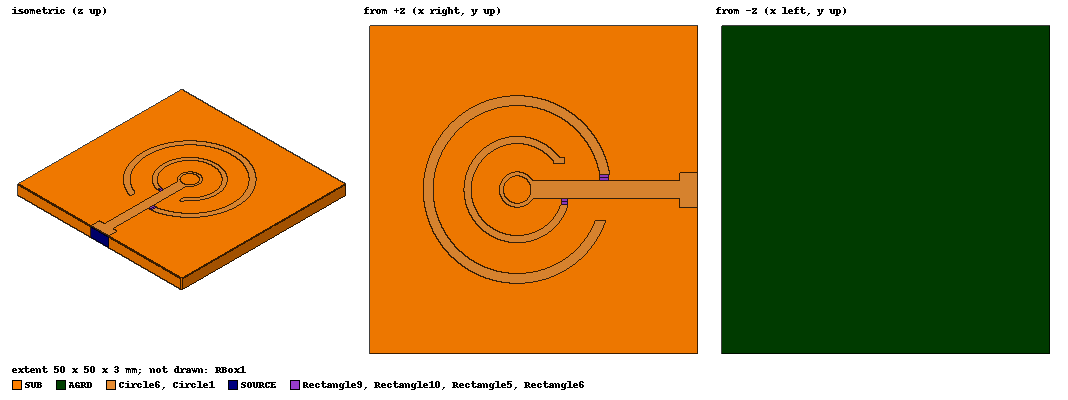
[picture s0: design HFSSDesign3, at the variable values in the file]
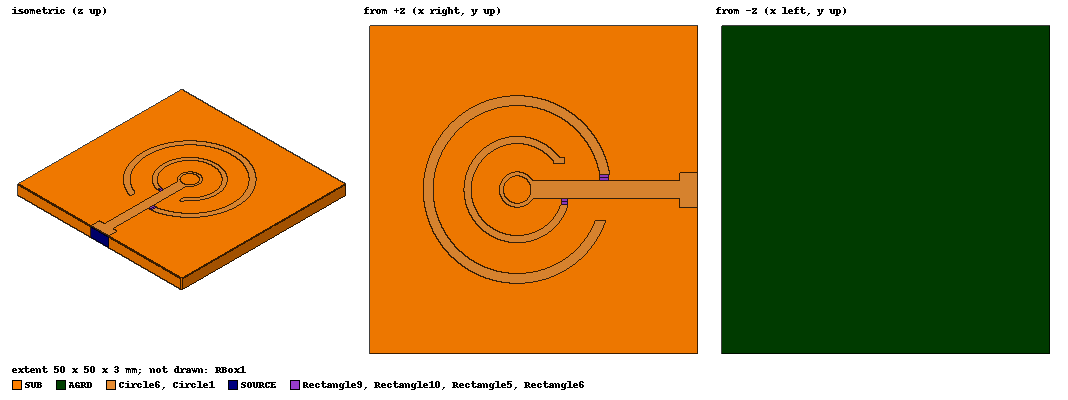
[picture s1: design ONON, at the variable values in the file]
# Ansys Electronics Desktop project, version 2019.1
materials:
  Rogers RT/duroid 5880 (tm): permittivity=2.2 dielectric_loss_tangent=0.0009
  vacuum: permittivity=1

design HFSSDesign3 (HFSS, DrivenModal, model units mm)
options: Calculate_Lossy_Dielectrics
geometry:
  AGRD = rectangle(corner=(-25mm, -25mm, 0mm), x_size=50mm, y_size=50mm)
  SUB [Rogers RT/duroid 5880 (tm)] = box(corner=(-25mm, -25mm, 0mm), size=(50mm, 50mm, 3mm))
  SOURCE = rectangle(corner=(25mm, -2.8mm, 0mm), y_size=5.4mm, z_size=3mm)
  RBox1 [vacuum] = box(corner=(-35mm, -35mm, -20mm), size=(70mm, 70mm, 40mm))
  Rectangle1 = rectangle(corner=(25mm, -2.8mm, 3mm), x_size=-2.7mm, y_size=5.4mm)
  Rectangle2 = rectangle(corner=(22.3mm, -1.3mm, 3mm), x_size=-22.5mm, y_size=2.6mm)
  Circle1 = circle(normal=Z, centre=(-2.5mm, 0mm, 3mm), radius=2.7mm)
  Circle2 = circle(normal=Z, centre=(-2.5mm, 0mm, 3mm), radius=2.1mm)
  Circle1.subtract(Circle2)
  Circle1.unite(Rectangle1, Rectangle2)
  Circle3 = circle(normal=Z, centre=(-2.5mm, 0mm, 3mm), radius=8.1mm)
  Circle4 = circle(normal=Z, centre=(-2.5mm, 0mm, 3mm), radius=7mm)
  Circle3.subtract(Circle4)
  Rectangle3 = rectangle(corner=(3.2mm, 4mm, 3mm), x_size=3mm, y_size=-6.3mm)
  Circle3.subtract(Rectangle3)
  Rectangle4 = rectangle(corner=(3.3mm, -1.3mm, 3mm), x_size=1mm, y_size=1.7mm)
  Rectangle5 = rectangle(corner=(4.2mm, -1.8mm, 3mm), x_size=1mm, y_size=0.5mm)
  Rectangle6 = rectangle(corner=(4.2mm, -1.8mm, 3mm), x_size=1mm, y_size=-0.5mm)
  Circle1.unite(Rectangle4)
  Circle1.unite(Circle3)
  Rectangle7 = rectangle(corner=(3mm, 4.9mm, 3mm), x_size=1.7mm, y_size=-1mm)
  Circle1.unite(Rectangle7)
  Circle5 = circle(normal=Z, centre=(-2.5mm, 0mm, 3mm), radius=12.8mm)
  Circle6 = circle(normal=Z, centre=(-2.5mm, 0mm, 3mm), radius=14.3mm)
  Circle6.subtract(Circle5)
  Rectangle8 = rectangle(corner=(9.5mm, -4.7mm, 3mm), x_size=3mm, y_size=7mm)
  Circle6.subtract(Rectangle8)
  Rectangle9 = rectangle(corner=(10mm, 2.3mm, 3mm), x_size=1.4965144mm, y_size=-0.5mm)
  Rectangle10 = rectangle(corner=(10mm, 1.8mm, 3mm), x_size=1.4965144mm, y_size=-0.5mm)
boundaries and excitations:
  PerfE1: Perfect E Objects=AGRD
  Rad1: Radiation Objects=RBox1
  PerfE2: Perfect E Objects=Circle1
  RC1: Lumped RLC Objects=Rectangle6 CurrentLine{middle of Rectangle6.edge(y at corner) -> middle of Rectangle6.edge(y opposite corner)} Resistance=3.5ohm
  L1: Lumped RLC Objects=Rectangle5 CurrentLine{middle of Rectangle5.edge(y opposite corner) -> middle of Rectangle5.edge(y at corner)} Inductance=0.15nH
  RC2: Lumped RLC Objects=Rectangle9 CurrentLine{Rectangle9.edge(y opposite corner) at 0.535 along -> Rectangle9.edge(y at corner) at 0.465 along} Resistance=3.5ohm
  L2: Lumped RLC Objects=Rectangle10 CurrentLine{Rectangle10.edge(y opposite corner) at 0.535 along -> Rectangle10.edge(y at corner) at 0.465 along} Inductance=0.15nH
  PerfE3: Perfect E Objects=Circle6
  1: Lumped Port Objects=SOURCE Modes{Mode1{IntLine{middle of SOURCE.edge(z at corner) -> middle of SOURCE.edge(z opposite corner)} CharImp=Zpi RenormImp=50ohm}} Impedance=50ohm
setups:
  Setup1: HfssDriven AdaptMultipleFreqs MultipleAdaptiveFreqsSetup{5GHz(0.02) 12GHz(0.02) 21GHz(0.02)} MaximumPasses=10 MinimumPasses=1 MinimumConvergedPasses=1 PercentRefinement=30 BasisOrder=1 PortAccuracy=2
    sweep Sweep: 1GHz to 25GHz, 451 points; Type=Fast SaveFields
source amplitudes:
  1:1: 1W 0deg
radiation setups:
  Infinite Sphere1: Infinite Sphere Theta=0deg..360deg step 5deg Phi=-180deg..180deg step 5deg
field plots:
  Mag_Jsurf1: Jsurf over Circle1.face(all 2) on Setup1 : LastAdaptive at Freq=5GHz Phase=0deg
  Mag_E1: E Field over Circle6.face(at (-2.5, 0, 3)) on Setup1 : LastAdaptive at Freq=5GHz Phase=0deg
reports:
  S Parameter Plot 1: OFFOFF, dB(S(1,1)), dB(S(1,1)) vs Freq; markers m1 at 4.8933333GHz, m2 at 17.533333GHz, m3 at 21.053333GHz, MX1 at x=5.8810173e+09, MX2 at x=4.1099001e+09, MX3 at x=1.6757493e+10, MX4 at x=1.8357385e+10, MX5 at x=2.0394737e+10, MX6 at x=2.1710526e+10
  VSWR Plot 1: VSWR(1), VSWR(1) OFFOFF, VSWR(1) OFFON vs Freq; markers MY1 at y=1.03194
  Antenna Params Plot 1: RadiationEfficiency, RadiationEfficiency_OFFON, RadiationEfficiency_17GHz vs Freq; markers MX1 at x=2.0999576e+10, MX2 at x=1.75382e+10, MX3 at x=5e+09
  Gain Plot 1: dB(GainTotal) vs Phi, Theta on Setup1 : LastAdaptive, Infinite Sphere1 [Freq=5GHz]
  Gain Plot 2: GainTotal vs Theta on Setup1 : LastAdaptive, Infinite Sphere1 [Phi=all Freq=5GHz]
  rE Plot 1: dB(rETotal) vs Theta on Setup1 : LastAdaptive, Infinite Sphere1 [Phi=0deg Freq=5GHz]
  rE Plot 2: dB(rETotal) vs Theta on Setup1 : LastAdaptive, Infinite Sphere1 [Phi=0deg Freq=21GHz]
  S Parameter Plot 2: dB(S(1,1)) vs Freq on Setup1 : Sweep; markers m1 at 11.986667GHz, m2 at 5.9066667GHz, m3 at 21.053333GHz
  Gain Plot 3: dB(GainTotal) vs Phi, Theta on Setup1 : LastAdaptive, Infinite Sphere1 [Freq=21GHz]
  Directivity Plot 1: dB(DirTotal) vs Theta on Setup1 : LastAdaptive, Infinite Sphere1 [Phi=45deg,135deg Freq=21GHz]; markers m1 at 320deg, m2 at 40deg, m3 at 85deg
  Directivity Plot 2: dB(DirTotal) vs Theta on Setup1 : LastAdaptive, Infinite Sphere1 [Phi=all Freq=21GHz]; markers m1 at 40deg
  Directivity Plot 3: dB(DirTotal) vs Theta on Setup1 : LastAdaptive, Infinite Sphere1 [Phi=45deg,130deg Freq=21GHz]
  S Parameter Plot 3: dB(S(1,1)) vs Freq on Setup1 : Sweep
  S Parameter Plot 4: dB(S(1,1)) vs Freq on Setup1 : Sweep

design ONON (HFSS, DrivenModal, model units mm)
options: Calculate_Lossy_Dielectrics
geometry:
  AGRD = rectangle(corner=(-25mm, -25mm, 0mm), x_size=50mm, y_size=50mm)
  SUB [Rogers RT/duroid 5880 (tm)] = box(corner=(-25mm, -25mm, 0mm), size=(50mm, 50mm, 3mm))
  SOURCE = rectangle(corner=(25mm, -2.8mm, 0mm), y_size=5.4mm, z_size=3mm)
  RBox1 [vacuum] = box(corner=(-35mm, -35mm, -20mm), size=(70mm, 70mm, 40mm))
  Rectangle1 = rectangle(corner=(25mm, -2.8mm, 3mm), x_size=-2.7mm, y_size=5.4mm)
  Rectangle2 = rectangle(corner=(22.3mm, -1.3mm, 3mm), x_size=-22.5mm, y_size=2.6mm)
  Circle1 = circle(normal=Z, centre=(-2.5mm, 0mm, 3mm), radius=2.7mm)
  Circle2 = circle(normal=Z, centre=(-2.5mm, 0mm, 3mm), radius=2.1mm)
  Circle1.subtract(Circle2)
  Circle1.unite(Rectangle1, Rectangle2)
  Circle3 = circle(normal=Z, centre=(-2.5mm, 0mm, 3mm), radius=8.1mm)
  Circle4 = circle(normal=Z, centre=(-2.5mm, 0mm, 3mm), radius=7mm)
  Circle3.subtract(Circle4)
  Rectangle3 = rectangle(corner=(3.2mm, 4mm, 3mm), x_size=3mm, y_size=-6.3mm)
  Circle3.subtract(Rectangle3)
  Rectangle4 = rectangle(corner=(3.3mm, -1.3mm, 3mm), x_size=1mm, y_size=1.7mm)
  Rectangle5 = rectangle(corner=(4.2mm, -1.8mm, 3mm), x_size=1mm, y_size=0.5mm)
  Rectangle6 = rectangle(corner=(4.2mm, -1.8mm, 3mm), x_size=1mm, y_size=-0.5mm)
  Circle1.unite(Rectangle4)
  Circle1.unite(Circle3)
  Rectangle7 = rectangle(corner=(3mm, 4.9mm, 3mm), x_size=1.7mm, y_size=-1mm)
  Circle1.unite(Rectangle7)
  Circle5 = circle(normal=Z, centre=(-2.5mm, 0mm, 3mm), radius=12.8mm)
  Circle6 = circle(normal=Z, centre=(-2.5mm, 0mm, 3mm), radius=14.3mm)
  Circle6.subtract(Circle5)
  Rectangle8 = rectangle(corner=(9.5mm, -4.7mm, 3mm), x_size=3mm, y_size=7mm)
  Circle6.subtract(Rectangle8)
  Rectangle9 = rectangle(corner=(10mm, 2.3mm, 3mm), x_size=1.4965144mm, y_size=-0.5mm)
  Rectangle10 = rectangle(corner=(10mm, 1.8mm, 3mm), x_size=1.4965144mm, y_size=-0.5mm)
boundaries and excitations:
  PerfE1: Perfect E Objects=AGRD
  Rad1: Radiation Objects=RBox1
  PerfE2: Perfect E Objects=Circle1
  RC1: Lumped RLC Objects=Rectangle6 CurrentLine{middle of Rectangle6.edge(y at corner) -> middle of Rectangle6.edge(y opposite corner)} Resistance=10kOhm Capacitance=28fF
  L1: Lumped RLC Objects=Rectangle5 CurrentLine{middle of Rectangle5.edge(y opposite corner) -> middle of Rectangle5.edge(y at corner)} Inductance=0.15nH
  RC2: Lumped RLC Objects=Rectangle9 CurrentLine{Rectangle9.edge(y opposite corner) at 0.535 along -> Rectangle9.edge(y at corner) at 0.465 along} Resistance=10kOhm Capacitance=28fF
  L2: Lumped RLC Objects=Rectangle10 CurrentLine{Rectangle10.edge(y opposite corner) at 0.535 along -> Rectangle10.edge(y at corner) at 0.465 along} Inductance=0.15nH
  PerfE3: Perfect E Objects=Circle6
  1: Lumped Port Objects=SOURCE Modes{Mode1{IntLine{middle of SOURCE.edge(z at corner) -> middle of SOURCE.edge(z opposite corner)} CharImp=Zpi RenormImp=50ohm}} Impedance=50ohm
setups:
  Setup1: HfssDriven AdaptMultipleFreqs MultipleAdaptiveFreqsSetup{5GHz(0.02) 12GHz(0.02) 21GHz(0.02)} MaximumPasses=10 MinimumPasses=1 MinimumConvergedPasses=1 PercentRefinement=30 BasisOrder=1 PortAccuracy=2
    sweep Sweep: 1GHz to 25GHz, 451 points; Type=Fast SaveFields
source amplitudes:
  1:1: 1W 0deg
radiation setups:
  Infinite Sphere1: Infinite Sphere Theta=0deg..360deg step 5deg Phi=-180deg..180deg step 5deg
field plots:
  Mag_Jsurf1: Jsurf over Circle1.face(all 2) on Setup1 : LastAdaptive at Freq=5GHz Phase=0deg
  Mag_E1: E Field over Circle6.face(at (-2.5, 0, 3)) on Setup1 : LastAdaptive at Freq=5GHz Phase=0deg
